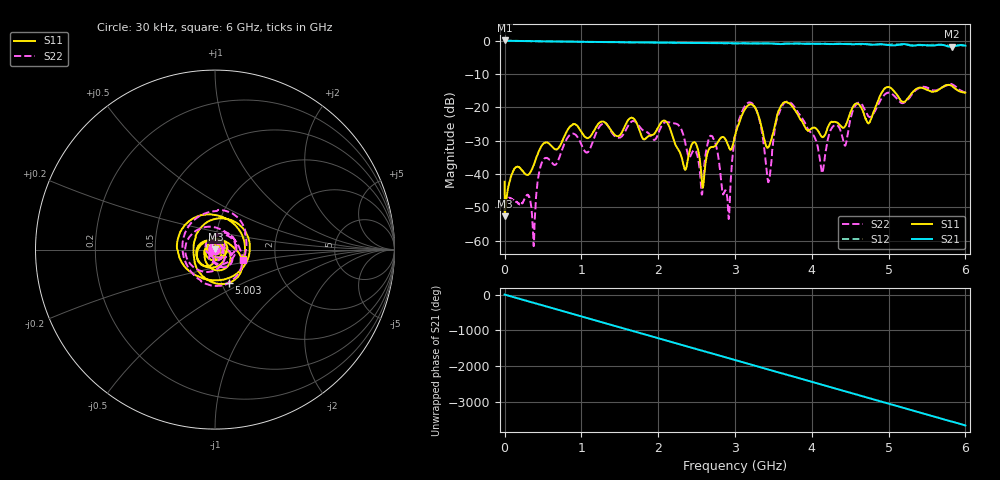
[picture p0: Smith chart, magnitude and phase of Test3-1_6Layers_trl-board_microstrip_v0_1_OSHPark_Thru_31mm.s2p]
! Touchstone 1.1 file saved by VNA QT V0.2.3.0
! Sun Jul 18 21:11:33 2021
! HEWLETT PACKARD,8753D,0,6.14 OPT: 002 006 010
! IF bandwidth: 3000 Hz
! Output power level: 0.000000 dBm
! Smoothing OFF
! Averaging OFF
! Correction ON
! Params: S11 S21 S12 S22
! Start frequency: 0.000030000 GHz
! Stop frequency:  6.000000000 GHz
! Points: 1601
# HZ S DB R 50
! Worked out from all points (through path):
!   1601 points, 30 kHz to 6 GHz, reference 50 ohm
!   highest |S21| = 0.02 dB at 30 kHz (marker M1); lowest = -1.9 dB at 5.824 GHz (marker M2)
!   group delay of S21, straight-line fit = 1.69 ns
!   lowest |S11| = -52.6 dB at 3.78 MHz (marker M3), VSWR 1.00, Z = 50.2 + j0.107 ohm
!   |S11| at or under -10 dB: start of sweep to end of sweep
!   |S22| runs from -61.6 to -13.0 dB; largest |S21 - S12| = 0.042
!   S11 on the Smith chart (normalised r, x): 30 kHz: 1.01, -0.01; 5.003 GHz: 1.09, -0.42; 6 GHz: 1.36, -0.15
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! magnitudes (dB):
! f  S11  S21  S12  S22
! 30 kHz  -42.3  0.0  0.0  -49.6
! 3.78 MHz  -52.6  0.0  0.0  -52.8
! 375 MHz  -37.5  -0.2  -0.2  -60.8
! 502.5 MHz  -31.0  -0.2  -0.2  -35.8
! 1.001 GHz  -27.5  -0.4  -0.4  -31.2
! 2.003 GHz  -25.9  -0.6  -0.6  -27.7
! 2.269 GHz  -32.9  -0.7  -0.7  -25.4
! 2.483 GHz  -30.6  -0.7  -0.7  -33.0
! 2.565 GHz  -41.1  -0.8  -0.8  -45.9
! 2.704 GHz  -31.9  -0.8  -0.8  -28.7
! 2.906 GHz  -31.1  -0.8  -0.8  -49.1
! 3 GHz  -28.4  -0.9  -0.8  -28.9
! 3.233 GHz  -19.4  -0.9  -0.8  -19.0
! 3.439 GHz  -31.9  -0.9  -0.8  -42.3
! 3.645 GHz  -18.5  -1.0  -0.9  -18.7
! 4.001 GHz  -26.2  -1.0  -0.9  -27.9
! 4.136 GHz  -28.9  -1.0  -1.0  -39.7
! 4.275 GHz  -24.4  -1.1  -1.0  -25.8
! 4.433 GHz  -25.8  -1.0  -1.0  -31.5
! 5.003 GHz  -13.9  -1.3  -1.3  -15.6
! 5.824 GHz  -13.6  -1.9  -1.8  -13.1
! 6 GHz  -15.6  -1.5  -1.7  -15.4
